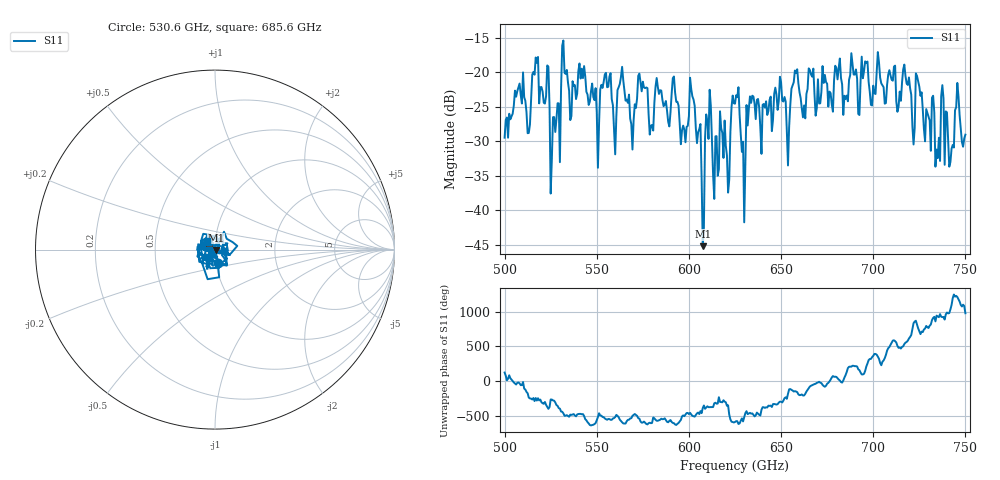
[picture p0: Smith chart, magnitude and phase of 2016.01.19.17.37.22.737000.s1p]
!Created with skrf (http://scikit-rf.org).
# GHz S RI R 50.0
!freq ReS11 ImS11
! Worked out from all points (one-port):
!   401 points, 500 GHz to 750 GHz, reference 50 ohm
!   lowest |S11| = -45.2 dB at 607.5 GHz (marker M1), VSWR 1.01, Z = 50.5 - j0.27 ohm
!   |S11| at or under -10 dB: start of sweep to end of sweep
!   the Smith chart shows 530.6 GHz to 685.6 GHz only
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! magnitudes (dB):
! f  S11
! 500 GHz  -29.5
! 513.1 GHz  -28.8
! 516.9 GHz  -17.9
! 526.2 GHz  -26.5
! 531.2 GHz  -16.1
! 550 GHz  -25.8
! 556.2 GHz  -22.1
! 559.4 GHz  -28.3
! 562.5 GHz  -21.7
! 569.4 GHz  -31.2
! 573.8 GHz  -21.4
! 579.4 GHz  -27.7
! 593.8 GHz  -24.3
! 601.9 GHz  -23.5
! 607.5 GHz  -45.2
! 610.6 GHz  -29.6
! 621.2 GHz  -37.4
! 625 GHz  -24.5
! 629.4 GHz  -30.1
! 633.8 GHz  -24.4
! 653.8 GHz  -33.5
! 656.2 GHz  -21.9
! 687.5 GHz  -20.4
! 718.8 GHz  -21.8
! 735 GHz  -32.4
! 742.5 GHz  -31.1
! 745.6 GHz  -21.5
! 750 GHz  -29.0
